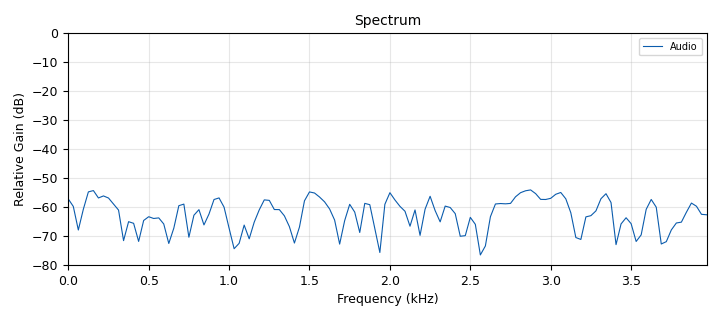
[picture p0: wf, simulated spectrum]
options:
  parameters:
    author: ECE 448
    description: 'L13: a DTMF dialer, a noisy channel, and the decoder, with sliders for the SNR, twist, timing, and frequency error. The Numbers label counts dialings decoded correctly since a setting last changed.'
    generate_options: qt_gui
    id: L13_dtmf_link
    output_language: python
    title: L13 - DTMF Link
  states: {}

blocks:
- name: N
  id: variable
  parameters:
    value: '205'
  states: {}
- name: digits_lbl
  id: variable_qtgui_label
  parameters:
    formatter: 'lambda x: '':  '' + x'
    gui_hint: 4,0,1,1
    label: Digits
    type: string
    value: rx_digits
  states: {}
- name: gap_ms
  id: variable_qtgui_range
  parameters:
    gui_hint: 2,1,1,1
    label: Gap (ms)
    start: '5'
    step: '1'
    stop: '100'
    value: '50'
  states: {}
- name: level
  id: variable
  parameters:
    value: '0.3'
  states: {}
- name: noise_amp
  id: variable
  parameters:
    value: level * ((1 + 10**(twist_db/10)) / 2 / 10**(snr_db/10)) ** 0.5
  states: {}
- name: number
  id: variable_qtgui_entry
  parameters:
    gui_hint: 0,0,1,1
    label: Number
    type: string
    value: '''7195550148'''
  states: {}
- name: offset_pct
  id: variable_qtgui_range
  parameters:
    gui_hint: 3,0,1,1
    label: Frequency error (%)
    start: '-5'
    step: '0.1'
    stop: '5'
    value: '0'
  states: {}
- name: round_k
  id: variable_qtgui_check_box
  parameters:
    'false': 'False'
    gui_hint: 0,1,1,1
    label: Round k to an integer
    'true': 'True'
    type: bool
    value: 'False'
  states: {}
- name: rx_digits
  id: variable_function_probe
  parameters:
    block_id: dtmf_decoder
    function_name: digits
    poll_rate: '4'
    value: '''(listening)'''
  states: {}
- name: rx_stats
  id: variable_function_probe
  parameters:
    block_id: dtmf_decoder
    function_name: stats
    poll_rate: '4'
    value: ''''''
  states: {}
- name: samp_rate
  id: variable
  parameters:
    value: '8000'
  states: {}
- name: snr_db
  id: variable_qtgui_range
  parameters:
    gui_hint: 1,0,1,1
    label: SNR (dB)
    start: '-6'
    step: '1'
    stop: '30'
    value: '20'
  states: {}
- name: stats_lbl
  id: variable_qtgui_label
  parameters:
    formatter: 'lambda x: '':  '' + x'
    gui_hint: 4,1,1,1
    label: Numbers
    type: string
    value: rx_stats
  states: {}
- name: tone_ms
  id: variable_qtgui_range
  parameters:
    gui_hint: 2,0,1,1
    label: Tone (ms)
    start: '10'
    step: '1'
    stop: '100'
    value: '50'
  states: {}
- name: twist_db
  id: variable_qtgui_range
  parameters:
    gui_hint: 1,1,1,1
    label: Twist (dB)
    start: '-14'
    step: '1'
    stop: '10'
    value: '0'
  states: {}
- name: add
  id: blocks_add_xx
  parameters:
    maxoutbuf: '1024'
    type: float
  states: {}
- name: dialer
  id: epy_block
  parameters:
    _source_code: |
      """DTMF Dialer: sends `digits` as DTMF tones, then a pause, over and over.

      Each digit is a row tone and a column tone, `tone_ms` long, followed by
      `gap_ms` of silence. The row tone has amplitude `level`; the column tone is
      `twist_db` above it (negative: below it). `offset_pct` moves every tone by
      that percentage. Characters other than 0-9, A-D, * and # are skipped."""

      import numpy as np
      from gnuradio import gr

      ROWS = (697, 770, 852, 941)
      COLS = (1209, 1336, 1477, 1633)
      KEYS = ('123A', '456B', '789C', '*0#D')


      class blk(gr.sync_block):
          def __init__(self, samp_rate=8000, digits='123', tone_ms=70, gap_ms=70,
                       pause_ms=500, level=0.3, twist_db=0.0, offset_pct=0.0):
              gr.sync_block.__init__(self, name='DTMF Dialer', in_sig=None, out_sig=[np.float32])
              self.samp_rate, self.digits = samp_rate, digits
              self.tone_ms, self.gap_ms, self.pause_ms = tone_ms, gap_ms, pause_ms
              self.level, self.twist_db, self.offset_pct = level, twist_db, offset_pct
              self.made = None
              self.pos = 0

          def make(self):
              fs = self.samp_rate
              n_tone = int(round(fs * self.tone_ms / 1000))
              t = np.arange(n_tone) / fs
              scale = 1 + self.offset_pct / 100
              hi_amp = self.level * 10 ** (self.twist_db / 20)
              parts = []
              for d in str(self.digits).upper():
                  for r, row in enumerate(KEYS):
                      if d in row:
                          c = row.index(d)
                          parts.append(self.level * np.sin(2 * np.pi * ROWS[r] * scale * t)
                                       + hi_amp * np.sin(2 * np.pi * COLS[c] * scale * t))
                          parts.append(np.zeros(int(round(fs * self.gap_ms / 1000))))
              parts.append(np.zeros(int(round(fs * self.pause_ms / 1000))))
              self.wave = np.concatenate(parts).astype(np.float32)

          def work(self, input_items, output_items):
              now = (self.samp_rate, self.digits, self.tone_ms, self.gap_ms, self.pause_ms,
                     self.level, self.twist_db, self.offset_pct)
              if now != self.made:                    # a setting changed: rebuild the sequence
                  self.make()
                  self.made = now
                  self.pos = 0
              out = output_items[0]
              n = 0
              while n < len(out):
                  k = min(len(out) - n, len(self.wave) - self.pos)
                  out[n:n + k] = self.wave[self.pos:self.pos + k]
                  n += k
                  self.pos = (self.pos + k) % len(self.wave)
              return len(out)
    digits: number
    gap_ms: gap_ms
    level: level
    maxoutbuf: '1024'
    offset_pct: offset_pct
    pause_ms: '500'
    samp_rate: samp_rate
    tone_ms: tone_ms
    twist_db: twist_db
  states: {}
- name: dtmf_decoder
  id: epy_block
  parameters:
    N: N
    _source_code: |
      """DTMF Decoder: a Goertzel bin at each of the eight DTMF frequencies, read
      once per block of N samples, with a new block every N/2 samples.

      A block holds a digit when the strongest row bin and the strongest column bin
      carry at least `share` of the block's energy, each is at least 6 dB above the
      other three bins in its group, and the column tone is no more than 6 dB above
      or 10 dB below the row tone (the twist limits, 2 dB outside the standard's
      +4 and -8 dB). A digit is reported when three blocks in a row hold it, and
      again only after a block that does not.
      A pause of 200 ms or more ends a number. The counts start over when a setting
      changes, and a number that is not decoded never counts.
      Function Probes read digits() and stats() for the QT GUI Labels."""

      import time

      import numpy as np
      from gnuradio import gr

      ROWS = (697, 770, 852, 941)
      COLS = (1209, 1336, 1477, 1633)
      KEYS = ('123A', '456B', '789C', '*0#D')


      class blk(gr.sync_block):
          def __init__(self, samp_rate=8000, N=205, share=0.35, round_k=False,
                       expected='', settings=None):
              gr.sync_block.__init__(self, name='DTMF Decoder', in_sig=[np.float32], out_sig=None)
              self.fs = samp_rate
              self.N = int(N)
              self.share = share
              self.round_k = round_k
              self.expected = expected
              self.settings = settings

          @property
          def settings(self):
              return self._settings

          @settings.setter
          def settings(self, value):
              # GRC sets this whenever a setting it names changes; start the counts over,
              # and drop the first number after a change, which may mix old and new samples.
              self.discard = hasattr(self, '_settings')
              self._settings = value
              k = np.array(ROWS + COLS) * self.N / self.fs       # bin number of each tone
              if self.round_k:
                  k = np.round(k)
              self.coef = 2 * np.cos(2 * np.pi * k / self.N)
              self.hop = self.N // 2
              self.buf = np.zeros(0, dtype=np.float32)
              self.prev = self.held = None
              self.run = 0
              self.quiet = 0
              self.number = ''
              self.shown = '(listening)'
              self.good = self.total = 0
              self.t0 = time.monotonic()

          def goertzel(self, x):
              q1 = np.zeros(8)
              q2 = np.zeros(8)
              for v in x:
                  q1, q2 = self.coef * q1 - q2 + v, q1
              return q1 * q1 + q2 * q2 - self.coef * q1 * q2      # |X(k)|^2 for each tone

          def decide(self, x):
              energy = np.dot(x, x)
              if energy < 1e-8:
                  return None
              p = self.goertzel(x) * 2 / (self.N * energy)          # a lone tone gives 1
              lo, hi = p[:4], p[4:]
              r, c = int(np.argmax(lo)), int(np.argmax(hi))
              if lo[r] + hi[c] < self.share:
                  return None                                       # not enough energy in two tones
              if np.sort(lo)[-2] * 4 > lo[r] or np.sort(hi)[-2] * 4 > hi[c]:
                  return None                                       # no clear winner (6 dB)
              if hi[c] > lo[r] * 10 ** 0.6 or lo[r] > hi[c] * 10 ** 1.0:
                  return None                                       # twist: +6 dB / -10 dB
              return KEYS[r][c]

          def work(self, input_items, output_items):
              self.buf = np.concatenate((self.buf, input_items[0]))
              while len(self.buf) >= self.N:
                  d = self.decide(self.buf[:self.N].astype(np.float64))
                  self.buf = self.buf[self.hop:]
                  self.run = self.run + 1 if d is not None and d == self.prev else int(d is not None)
                  if d != self.held:
                      self.held = None
                  if d is not None and self.run >= 3 and self.held is None:
                      self.number += d
                      self.held = d
                  self.quiet = 0 if d is not None else self.quiet + 1
                  if self.number and self.quiet * self.hop >= 0.2 * self.fs:
                      self.finish()
                  self.prev = d
              return len(input_items[0])

          def finish(self):
              if self.discard:
                  self.discard = False
              else:
                  self.shown = self.number
                  self.total += 1
                  self.good += self.number == str(self.expected).upper()
              self.number = ''

          def digits(self):
              return self.number or self.shown

          def stats(self):
              t = time.monotonic() - self.t0
              if not self.expected:
                  return f'{self.total} decoded in {t:.0f} s'
              return f'{self.good} correct of {self.total} decoded in {t:.0f} s'
    expected: number
    round_k: round_k
    samp_rate: samp_rate
    settings: (number, snr_db, twist_db, tone_ms, gap_ms, offset_pct, round_k)
    share: '0.35'
  states: {}
- name: noise
  id: analog_noise_source_x
  parameters:
    amp: noise_amp
    maxoutbuf: '1024'
    noise_type: analog.GR_GAUSSIAN
    seed: '0'
    type: float
  states: {}
- name: throttle
  id: blocks_throttle2
  parameters:
    samples_per_second: samp_rate
    type: float
  states: {}
- name: wf
  id: qtgui_freq_sink_x
  parameters:
    bw: samp_rate
    fc: '0'
    fftsize: '256'
    freqhalf: 'False'
    gui_hint: 5,0,1,2
    label1: Audio
    name: '"Spectrum"'
    type: float
    ymax: '0'
    ymin: '-80'
  states: {}

connections:
- [add, '0', throttle, '0']
- [dialer, '0', add, '0']
- [noise, '0', add, '1']
- [throttle, '0', dtmf_decoder, '0']
- [throttle, '0', wf, '0']

metadata:
  file_format: 1
  grc_version: 3.10.9.2
